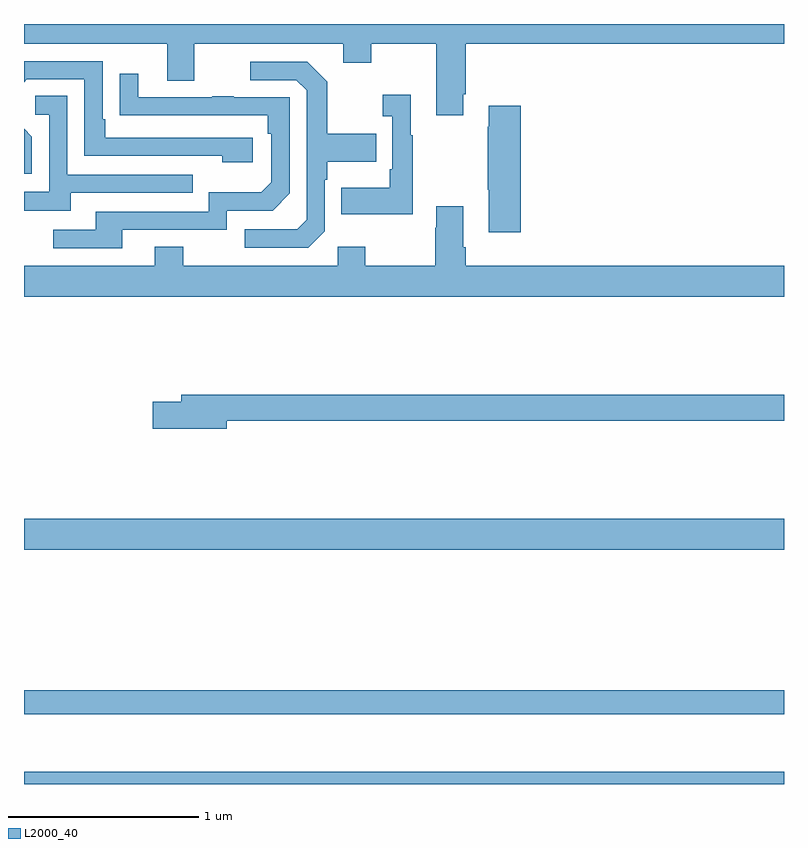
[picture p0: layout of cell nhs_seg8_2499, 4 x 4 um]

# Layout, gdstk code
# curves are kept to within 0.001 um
import gdstk
lib = gdstk.Library(unit=1e-6, precision=1e-09)
def R(c, l, rs):  # rectangles x0, y0, x1, y1
    for r in rs: c.add(gdstk.rectangle(r[:2], r[2:], *l))
def P(c, l, *ps):  # polygons
    for p in ps: c.add(gdstk.Polygon(p, *l))
L2000_40 = (2000, 40)

nhs_seg8_2499 = lib.new_cell('nhs_seg8_2499')
R(nhs_seg8_2499, L2000_40, [(267,1149.9,271,1149.964), (267,1150.266,271,1150.394), (267,1151.132,271,1151.296)])
P(nhs_seg8_2499, L2000_40, [(269.311,1153.531),(269.324,1153.531),(269.324,1153.796),(271,1153.796),(271,1153.9),(267,1153.9),(267,1153.796),(267.755,1153.796),(267.755,1153.602),(267.895,1153.602),(267.895,1153.796),(268.679,1153.796),(268.679,1153.697),(268.827,1153.697),(268.827,1153.796),(269.171,1153.796),(269.171,1153.419),(269.311,1153.419)],
  [(268.204,1153.302),(267.427,1153.302),(267.427,1153.399),(267.414,1153.399),(267.414,1153.704),(267,1153.704),(267,1153.593),(267.015,1153.608),(267.318,1153.608),(267.318,1153.206),(268.043,1153.206),(268.043,1153.172),(268.204,1153.172)],
  [(268.584,1152.81),(268.584,1153.079),(268.597,1153.079),(268.597,1153.175),(268.853,1153.175),(268.853,1153.323),(268.597,1153.323),(268.597,1153.595),(268.491,1153.701),(268.191,1153.701),(268.191,1153.605),(268.434,1153.605),(268.488,1153.551),(268.488,1152.87),(268.437,1152.819),(268.161,1152.819),(268.161,1152.723),(268.497,1152.723)],
  [(267.517,1152.816),(268.068,1152.816),(268.068,1152.918),(268.308,1152.918),(268.398,1153.008),(268.398,1153.515),(268.103,1153.515),(268.103,1153.52),(267.991,1153.52),(267.991,1153.515),(267.601,1153.515),(267.601,1153.639),(267.505,1153.639),(267.505,1153.42),(268.282,1153.419),(268.282,1153.322),(268.302,1153.322),(268.302,1153.068),(268.249,1153.015),(267.972,1153.015),(267.972,1152.912),(267.377,1152.912),(267.377,1152.816),(267.153,1152.816),(267.153,1152.72),(267.517,1152.72)],
  [(269.047,1153.315),(269.035,1153.315),(269.035,1153.528),(268.887,1153.528),(268.887,1153.415),(268.938,1153.415),(268.938,1153.135),(268.926,1153.135),(268.926,1153.039),(268.669,1153.039),(268.669,1152.899),(269.047,1152.899)],
  [(267.247,1153.011),(267.887,1153.011),(267.887,1153.107),(267.228,1153.107),(267.228,1153.523),(267.06,1153.523),(267.06,1153.422),(267.132,1153.422),(267.132,1153.017),(267,1153.017),(267,1152.917),(267.247,1152.917)],
  [(269.615,1153.471),(269.447,1153.471),(269.447,1153.358),(269.44,1153.358),(269.44,1153.027),(269.447,1153.027),(269.447,1152.804),(269.615,1152.804)],
  [(267.042,1153.306),(267,1153.348),(267,1153.113),(267.042,1153.113)],
  [(271,1152.628),(269.324,1152.628),(269.324,1152.724),(269.311,1152.724),(269.311,1152.94),(269.171,1152.94),(269.171,1152.827),(269.164,1152.827),(269.164,1152.628),(268.797,1152.628),(268.797,1152.727),(268.65,1152.727),(268.65,1152.628),(267.837,1152.628),(267.837,1152.727),(267.689,1152.727),(267.689,1152.628),(267,1152.628),(267,1152.464),(271,1152.464)],
  [(268.066,1151.812),(271,1151.812),(271,1151.948),(267.827,1151.948),(267.827,1151.912),(267.678,1151.912),(267.678,1151.77),(268.066,1151.77)])

lib.write_gds('nhs_seg8_2499.gds')
